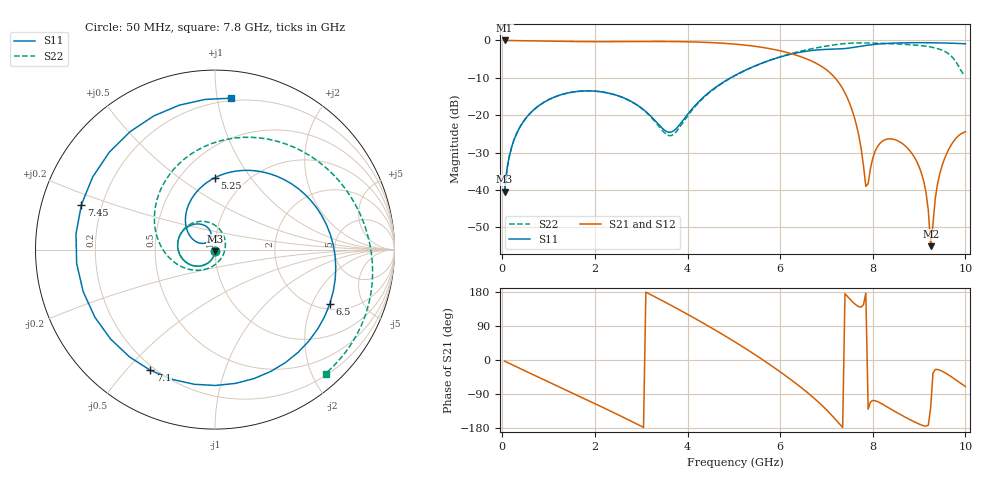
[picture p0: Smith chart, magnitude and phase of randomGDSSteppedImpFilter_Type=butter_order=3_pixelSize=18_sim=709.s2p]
! freq	dB(S11)	phase(S11)	dB(S12)	phase(S12)
!  dB(S21)	phase(S21)	dB(S22)	phase(S22)
!S-par simulation data
#  GHz  S  DB  R 50
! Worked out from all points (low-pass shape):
!   200 points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, 50 MHz to 10 GHz, reference 50 ohm
!   highest |S21| = -0.01 dB at 50 MHz (marker M1); lowest = -55.0 dB at 9.25 GHz (marker M2)
!   |S21| within 3 dB of the highest: start of sweep to 6.078 GHz
!   lowest |S11| = -40.4 dB at 50 MHz (marker M3), VSWR 1.02, Z = 50 - j0.95 ohm
!   |S11| at or under -10 dB: start of sweep to 4.927 GHz
!   |S22| runs from -40.4 to -0.7 dB; largest |S21 - S12| = 0
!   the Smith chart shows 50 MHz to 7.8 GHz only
!   S11 on the Smith chart (normalised r, x): 50 MHz: 1.00, -0.02; 5.25 GHz: 0.72, +0.69; 6.5 GHz: 2.25, -2.73; 7.1 GHz: 0.18, -0.58; 7.45 GHz: 0.12, +0.16; 7.8 GHz: 0.18, +1.09
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0.05  -40.44 -91.7  -0.01 -3.0  -0.01 -3.0  -40.43 -91.6
0.5  -20.94 -119.6  -0.08 -29.2  -0.08 -29.2  -20.94 -119.6
1.75  -13.51 169.2  -0.32 -100.9  -0.32 -100.9  -13.51 167.7
2.65  -15.49 121.8  -0.31 -153.4  -0.31 -153.4  -15.52 110.6
3.4  -22.78 108.2  -0.28 160.1  -0.28 160.1  -23.24 33.2
4.3  -15.66 150.3  -0.47 100.0  -0.47 100.0  -15.88 -134.4
5.05  -9.17 104.8  -1.02 45.7  -1.02 45.7  -9.26 163.4
5.25  -7.94 90.0  -1.26 30.3  -1.26 30.3  -8.01 147.6
5.9  -4.80 36.2  -2.50 -22.6  -2.50 -22.6  -4.78 95.9
6.5  -3.00 -25.4  -4.59 -77.0  -4.59 -77.0  -2.70 48.4
6.7  -2.66 -51.0  -5.63 -97.3  -5.63 -97.3  -2.18 33.0
7.1  -2.35 -118.1  -8.90 -144.1  -8.90 -144.1  -1.30 3.0
7.45  -2.10 161.4  -15.34 168.1  -15.34 168.1  -0.79 -23.1
7.8  -1.43 84.1  -33.57 146.0  -33.57 146.0  -0.67 -48.3
7.85  -1.34 74.9  -39.02 176.5  -39.02 176.5  -0.68 -51.7
8.35  -0.77 7.5  -26.30 -126.7  -26.30 -126.7  -0.85 -84.4
9  -0.60 -45.7  -33.75 -169.0  -33.75 -169.0  -1.34 -129.1
9.15  -0.61 -55.6  -40.67 -174.6  -40.67 -174.6  -1.56 -141.3
9.25  -0.62 -62.0  -54.99 -125.9  -54.99 -125.9  -1.76 -150.3
9.5  -0.67 -77.3  -33.34 -29.8  -33.34 -29.8  -2.62 -178.2
9.8  -0.78 -95.2  -26.10 -53.0  -26.10 -53.0  -5.80 121.3
10  -0.89 -107.2  -24.38 -69.9  -24.38 -69.9  -9.09 23.2
